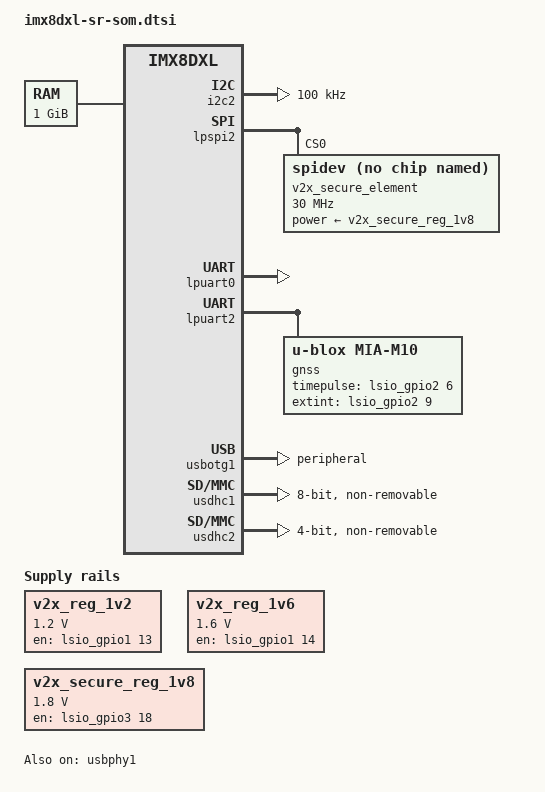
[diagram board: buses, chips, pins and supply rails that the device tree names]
// SPDX-License-Identifier: GPL-2.0+
/*
 * Copyright 2022 Josua Mayer <josua@solid-run.com>
 */

/ {
	chosen {
		stdout-path = &lpuart0;
	};

	/* 1GB LPDDR4 */
	/* TODO: is this required? */
	memory@80000000 {
		device_type = "memory";
		reg = <0x00000000 0x80000000 0 0x40000000>;
	};

	reserved-memory {
		#address-cells = <2>;
		#size-cells = <2>;
		ranges;

		/*
		 * 0x8800_0000 ~ 0x8FFF_FFFF is reserved for M4
		 * Shouldn't be used at A core and Linux side.
		 *
		 */
		m4_reserved: m4@0x88000000 {
			no-map;
			reg = <0 0x88000000 0 0x8000000>;
		};

		/* TODO: why? is this required? */
		rpmsg_reserved: rpmsg@0x90200000 {
			no-map;
			reg = <0 0x90200000 0 0x200000>;
		};

		/* 64MB CMA region */
		/* TODO: is this required? What size? */
		linux,cma {
			compatible = "shared-dma-pool";
			reusable;
			size = <0 0x04000000>;
			alloc-ranges = <0 0x98000000 0 0x04000000>;
			linux,cma-default;
		};

		/* TODO: EVK reserves memory for vdevs here ... */
	};

	v2x_reg_1v2: regulator-v2x-1v2 {
		compatible = "regulator-fixed";
		pinctrl-names = "default";
		pinctrl-0 = <&pinctrl_v2x_reg_1v2>;
		regulator-name = "v2x-1v2";
		regulator-min-microvolt = <1200000>;
		regulator-max-microvolt = <1200000>;
		gpio = <&lsio_gpio1 13 GPIO_ACTIVE_HIGH>;
		enable-active-high;
		regulator-always-on;
	};

	v2x_reg_1v6: regulator-v2x-1v6 {
		compatible = "regulator-fixed";
		pinctrl-names = "default";
		pinctrl-0 = <&pinctrl_v2x_reg_1v6>;
		regulator-name = "v2x-1v6";
		regulator-min-microvolt = <1600000>;
		regulator-max-microvolt = <1600000>;
		gpio = <&lsio_gpio1 14 GPIO_ACTIVE_HIGH>;
		enable-active-high;
		regulator-always-on;
	};

	v2x_secure_reg_1v8: regulator-v2x-secure-1v8 {
		compatible = "regulator-fixed";
		pinctrl-names = "default";
		pinctrl-0 = <&pinctrl_v2x_secure_reg_1v8>;
		regulator-name = "v2x-secure-1v8";
		regulator-min-microvolt = <1800000>;
		regulator-max-microvolt = <1800000>;
		gpio = <&lsio_gpio3 18 GPIO_ACTIVE_HIGH>;
		enable-active-high;
		regulator-always-on;
	};
};

&edma2 {
	status = "okay";
};

/* exposed on J14: SDA(51), SCL(53) */
&i2c2 {
	#address-cells = <1>;
	#size-cells = <0>;
	clock-frequency = <100000>;
	pinctrl-names = "default";
	pinctrl-0 = <&pinctrl_i2c2>;
	status = "okay";

	/* MIA-M10Q (400kHz max.)*/
	/*gnss_ddc: mia-m10q@42 {
		reg = <0x42>;
		compatible = "u-blox,mia-m10";
	};*/
};

&iomuxc {
	pinctrl-names = "default";
	pinctrl-0 = <&pinctrl_hog>;

		/* TODO: check */
		pinctrl_hog: hoggrp {
			fsl,pins = <
				IMX8DXL_COMP_CTL_GPIO_1V8_3V3_GPIORHB_PAD	0x000514a0
				IMX8DXL_COMP_CTL_GPIO_1V8_3V3_GPIORHK_PAD	0x000014a0

				/* 32kHz for wifi */
				IMX8DXL_MCLK_OUT0_ADMA_ACM_MCLK_OUT0	0x0600004c
			>;
		};

		pinctrl_i2c2: i2c2grp {
			fsl,pins = <
				/* io with pull-up and strong drive */
				IMX8DXL_SPI1_SCK_ADMA_I2C2_SDA		0x06000020
				IMX8DXL_SPI1_SDO_ADMA_I2C2_SCL		0x06000020
			>;
		};

		pinctrl_lpspi2: lpspi2grp {
			fsl,pins = <
				IMX8DXL_USDHC1_RESET_B_ADMA_SPI2_SCK	0x600004c
				IMX8DXL_USDHC1_VSELECT_ADMA_SPI2_SDO	0x600004c
				IMX8DXL_USDHC1_WP_ADMA_SPI2_SDI			0x600004c
				IMX8DXL_USDHC1_CD_B_ADMA_SPI2_CS0		0x600004c
			>;
		};

		pinctrl_lpuart0: lpuart0grp {
			fsl,pins = <
				IMX8DXL_UART0_RX_ADMA_UART0_RX		0x06000020
				IMX8DXL_UART0_TX_ADMA_UART0_TX		0x06000020
			>;
		};

		pinctrl_lpuart2: lpuart2grp {
			fsl,pins = <
				IMX8DXL_UART2_TX_ADMA_UART2_TX		0x06000020
				IMX8DXL_UART2_RX_ADMA_UART2_RX		0x06000020
			>;
		};

		pinctrl_lpuart2_gps: lpuart2gpsgrp {
			fsl,pins = <
				/* gps reset: input with pull-up */
				/* TODO: change board layout for output-capable gpio */
				IMX8DXL_SNVS_TAMPER_OUT4_LSIO_GPIO2_IO08_IN		0x0000021
				/* IMX8DXL_SNVS_TAMPER_OUT4_LSIO_GPIO6_IO22_IN */

				/* gps interrupt: io without pull-up */
				IMX8DXL_SNVS_TAMPER_IN0_LSIO_GPIO2_IO09_IN		0x0000061
				/* IMX8DXL_SNVS_TAMPER_IN0_LSIO_GPIO6_IO23_IN */

				/* gps timepulse: input without pull-up */
				IMX8DXL_SNVS_TAMPER_OUT2_LSIO_GPIO2_IO06_IN		0x0000061
			>;
		};

		pinctrl_usdhc1: usdhc1grp {
			fsl,pins = <
				IMX8DXL_EMMC0_CLK_CONN_EMMC0_CLK			0x06000041
				IMX8DXL_EMMC0_CMD_CONN_EMMC0_CMD			0x00000021
				IMX8DXL_EMMC0_DATA0_CONN_EMMC0_DATA0		0x00000021
				IMX8DXL_EMMC0_DATA1_CONN_EMMC0_DATA1		0x00000021
				IMX8DXL_EMMC0_DATA2_CONN_EMMC0_DATA2		0x00000021
				IMX8DXL_EMMC0_DATA3_CONN_EMMC0_DATA3		0x00000021
				IMX8DXL_EMMC0_DATA4_CONN_EMMC0_DATA4		0x00000021
				IMX8DXL_EMMC0_DATA5_CONN_EMMC0_DATA5		0x00000021
				IMX8DXL_EMMC0_DATA6_CONN_EMMC0_DATA6		0x00000021
				IMX8DXL_EMMC0_DATA7_CONN_EMMC0_DATA7		0x00000021
				IMX8DXL_EMMC0_STROBE_CONN_EMMC0_STROBE		0x00000041
				IMX8DXL_EMMC0_RESET_B_CONN_EMMC0_RESET_B	0x00000021
			>;
		};

		pinctrl_usdhc1_100mhz: usdhc1grp100mhz {
			fsl,pins = <
				IMX8DXL_EMMC0_CLK_CONN_EMMC0_CLK			0x06000041
				IMX8DXL_EMMC0_CMD_CONN_EMMC0_CMD			0x00000021
				IMX8DXL_EMMC0_DATA0_CONN_EMMC0_DATA0		0x00000021
				IMX8DXL_EMMC0_DATA1_CONN_EMMC0_DATA1		0x00000021
				IMX8DXL_EMMC0_DATA2_CONN_EMMC0_DATA2		0x00000021
				IMX8DXL_EMMC0_DATA3_CONN_EMMC0_DATA3		0x00000021
				IMX8DXL_EMMC0_DATA4_CONN_EMMC0_DATA4		0x00000021
				IMX8DXL_EMMC0_DATA5_CONN_EMMC0_DATA5		0x00000021
				IMX8DXL_EMMC0_DATA6_CONN_EMMC0_DATA6		0x00000021
				IMX8DXL_EMMC0_DATA7_CONN_EMMC0_DATA7		0x00000021
				IMX8DXL_EMMC0_STROBE_CONN_EMMC0_STROBE		0x00000041
				IMX8DXL_EMMC0_RESET_B_CONN_EMMC0_RESET_B	0x00000021
			>;
		};

		pinctrl_usdhc1_200mhz: usdhc1grp200mhz {
			fsl,pins = <
				IMX8DXL_EMMC0_CLK_CONN_EMMC0_CLK			0x06000041
				IMX8DXL_EMMC0_CMD_CONN_EMMC0_CMD			0x00000021
				IMX8DXL_EMMC0_DATA0_CONN_EMMC0_DATA0		0x00000021
				IMX8DXL_EMMC0_DATA1_CONN_EMMC0_DATA1		0x00000021
				IMX8DXL_EMMC0_DATA2_CONN_EMMC0_DATA2		0x00000021
				IMX8DXL_EMMC0_DATA3_CONN_EMMC0_DATA3		0x00000021
				IMX8DXL_EMMC0_DATA4_CONN_EMMC0_DATA4		0x00000021
				IMX8DXL_EMMC0_DATA5_CONN_EMMC0_DATA5		0x00000021
				IMX8DXL_EMMC0_DATA6_CONN_EMMC0_DATA6		0x00000021
				IMX8DXL_EMMC0_DATA7_CONN_EMMC0_DATA7		0x00000021
				IMX8DXL_EMMC0_STROBE_CONN_EMMC0_STROBE		0x00000041
				IMX8DXL_EMMC0_RESET_B_CONN_EMMC0_RESET_B	0x00000021
			>;
		};

		pinctrl_usdhc2: usdhc2grp {
			fsl,pins = <
				IMX8DXL_ENET0_RGMII_RXC_CONN_USDHC1_CLK			0x06000040 /* roadlink evk sources set strength to high */
				IMX8DXL_ENET0_RGMII_RX_CTL_CONN_USDHC1_CMD		0x00000021
				IMX8DXL_ENET0_RGMII_RXD0_CONN_USDHC1_DATA0		0x00000021
				IMX8DXL_ENET0_RGMII_RXD1_CONN_USDHC1_DATA1		0x00000021
				IMX8DXL_ENET0_RGMII_RXD2_CONN_USDHC1_DATA2		0x00000021
				IMX8DXL_ENET0_RGMII_RXD3_CONN_USDHC1_DATA3		0x00000021
			>;
		};

		/* do we need all 3 modes? */
		pinctrl_usdhc2_100mhz: usdhc2grp100mhz {
			fsl,pins = <
				IMX8DXL_ENET0_RGMII_RXC_CONN_USDHC1_CLK			0x06000040 /* roadlink evk sources set strength to high */
				IMX8DXL_ENET0_RGMII_RX_CTL_CONN_USDHC1_CMD		0x00000021
				IMX8DXL_ENET0_RGMII_RXD0_CONN_USDHC1_DATA0		0x00000021
				IMX8DXL_ENET0_RGMII_RXD1_CONN_USDHC1_DATA1		0x00000021
				IMX8DXL_ENET0_RGMII_RXD2_CONN_USDHC1_DATA2		0x00000021
				IMX8DXL_ENET0_RGMII_RXD3_CONN_USDHC1_DATA3		0x00000021
			>;
		};

		/* do we need all 3 modes? */
		pinctrl_usdhc2_200mhz: usdhc2grp200mhz {
			fsl,pins = <
				IMX8DXL_ENET0_RGMII_RXC_CONN_USDHC1_CLK			0x06000040 /* roadlink evk sources set strength to high */
				IMX8DXL_ENET0_RGMII_RX_CTL_CONN_USDHC1_CMD		0x00000021
				IMX8DXL_ENET0_RGMII_RXD0_CONN_USDHC1_DATA0		0x00000021
				IMX8DXL_ENET0_RGMII_RXD1_CONN_USDHC1_DATA1		0x00000021
				IMX8DXL_ENET0_RGMII_RXD2_CONN_USDHC1_DATA2		0x00000021
				IMX8DXL_ENET0_RGMII_RXD3_CONN_USDHC1_DATA3		0x00000021
			>;
		};

		pinctrl_v2x: v2xgrp {
			fsl,pins = <
				/* v2x reset: io without pull */
				IMX8DXL_ADC_IN0_LSIO_GPIO1_IO10		0x0000060

				/*
				 * v2x boot0: io without pull
				 * After reset, this pin selects modem boot media:
				 * - 0: flash spi
				 * - 1: slave sdio
				 * Once the firmware boots however, the modem controls
				 * this pin for flow-control to signal readiness.
				 */
				IMX8DXL_ADC_IN1_LSIO_GPIO1_IO09		0x0000060 /* io without pull */
				/* TODO: check whether this pin should have SoC pull-down, or external resistor, or neither */
			>;
		};

		pinctrl_v2x_reg_1v2: v2xreg1v2grp {
			fsl,pins = <
				/* io without pull-up */
				/* has etxernal pull-down */
				IMX8DXL_ADC_IN5_LSIO_GPIO1_IO13		0x0000061
			>;
		};

		pinctrl_v2x_reg_1v6: v2xreg1v6grp {
			fsl,pins = <
				/* io without pull-up */
				/* has etxernal pull-down */
				IMX8DXL_ADC_IN4_LSIO_GPIO1_IO14		0x0000061
			>;
		};

		pinctrl_v2x_secure: v2xsecuregrp {
			fsl,pins = <
				/* v2x-secure-element reset: io with pull-up */
				IMX8DXL_QSPI0B_DATA1_LSIO_GPIO3_IO19	0x0000021

				/* v2x-secure-element gpio0: io without pull-up */
				IMX8DXL_QSPI0B_DATA2_LSIO_GPIO3_IO20	0x0000061

				/* v2x-secure-element gpio1: io without pull-up */
				IMX8DXL_QSPI0B_DATA3_LSIO_GPIO3_IO21	0x0000061
			>;
		};

		pinctrl_v2x_secure_reg_1v8: v2xsecurereg1v8grp {
			fsl,pins = <
				/* v2x-secure-element power switch: io without pull-up */
				IMX8DXL_QSPI0B_DATA0_LSIO_GPIO3_IO18	0x0000061
			>;
		};

		pinctrl_wifi: wifigrp {
			fsl,pins = <
				/* wl_reg_on: io without pull-up */
				/* IMX8DXL_SPI3_CS1 not a GPIO :( */
				IMX8DXL_SPI3_CS1_ADMA_SPI3_CS1		0x0000061
				/* measure if this is high */
			>;
		};

		pinctrl_bluetooth: bluetoothgrp {
			fsl,pins = <
				/* bt_reg_on: io without pull-up TODO: pull-up */
				IMX8DXL_SPI3_SCK_LSIO_GPIO0_IO13	0x0000061
			>;
		};
};

&lpspi2 {
	fsl,spi-num-chipselects = <1>;
	pinctrl-names = "default";
	pinctrl-0 = <&pinctrl_lpspi2>;
	//pinctrl-assert-gpios = <&pca6416_1 7 GPIO_ACTIVE_HIGH>; // <-- what be dis?>
	status = "okay";

	/* SXF1800 (SoM) */
	v2x_secure_element: sxf1800@0 {
		pinctrl-names = "default";
		pinctrl-0 = <&pinctrl_v2x_secure>;
		reg = <0>;
		compatible = "rohm,dh2228fv";
		spi-max-frequency = <30000000>;
		power-supply = <&v2x_secure_reg_1v8>; // should be always on maybe?
	};
};

/* console */
&lpuart0 {
	pinctrl-names = "default";
	pinctrl-0 = <&pinctrl_lpuart0>;
	status = "okay";
};

/* gps */
&lpuart2 {
	pinctrl-names = "default";
	pinctrl-0 = <&pinctrl_lpuart2>;
	status = "okay";

	/* MIA-M10Q */
	gnss {
		compatible = "u-blox,mia-m10", "u-blox,neo-m8";
		pinctrl-names = "default";
		pinctrl-0 = <&pinctrl_lpuart2_gps>;
		// enable-gpios = <&lsio_gpio2 8 GPIO_ACTIVE_HIGH>;
		timepulse-gpios = <&lsio_gpio2 6 GPIO_ACTIVE_HIGH>;
		current-speed = <38400>;
		u-blox,extint-gpios = <&lsio_gpio2 9 GPIO_ACTIVE_HIGH>;
	};
};

/* OTG port for boot */
&usbotg1 {
	srp-disable;
	hnp-disable;
	adp-disable;
	power-active-high;
	disable-over-current;
	dr_mode = "peripheral";
	status = "okay";
};

&usbphy1 {
	status = "okay";
};

&usdhc1 {
		pinctrl-names = "default", "state_100mhz", "state_200mhz";
		pinctrl-0 = <&pinctrl_usdhc1>;
		pinctrl-1 = <&pinctrl_usdhc1_100mhz>;
		pinctrl-2 = <&pinctrl_usdhc1_200mhz>;
		bus-width = <8>;
		no-sd;
		no-sdio;
		non-removable;
		status = "okay";
};

&usdhc2 {
		pinctrl-names = "default", "state_100mhz", "state_200mhz";
		pinctrl-0 = <&pinctrl_usdhc2>, <&pinctrl_v2x>;
		pinctrl-1 = <&pinctrl_usdhc2_100mhz>, <&pinctrl_v2x>;
		pinctrl-2 = <&pinctrl_usdhc2_200mhz>, <&pinctrl_v2x>;
		bus-width = <4>;
		no-sd;
		non-removable;
		status = "okay";
		max-frequency = <40000000>;
		fsl,delay-line = <12>;
		keep-power-in-suspend;
		enable-sdio-wakeup;
		//mmc-pwrseq = <&v2x_pwrseq>;
		//vmmc-supply = <&v2x_reg_1v2>;
		//vmmc_aux-supply = <&v2x_reg_1v6>;
};
